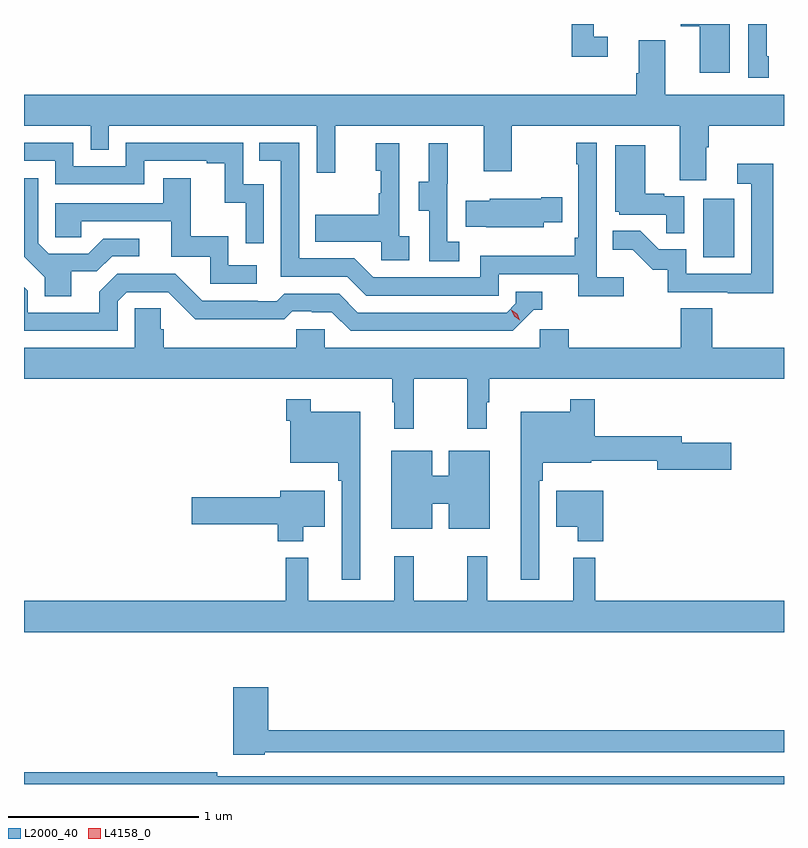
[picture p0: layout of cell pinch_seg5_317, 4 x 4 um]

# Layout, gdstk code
import gdstk
lib = gdstk.Library(unit=1e-6, precision=1e-09)
def R(c, l, rs):  # rectangles x0, y0, x1, y1
    for r in rs: c.add(gdstk.rectangle(r[:2], r[2:], *l))
def P(c, l, *ps):  # polygons
    for p in ps: c.add(gdstk.Polygon(p, *l))
L2000_40 = (2000, 40)
L4158_0 = (4158, 0)

pinch_seg5_317 = lib.new_cell('pinch_seg5_317')
R(pinch_seg5_317, L2000_40, [(938.144,874.716,938.308,875.023)])
P(pinch_seg5_317, L2000_40, [(938.491,875.773),(938.478,875.773),(938.478,875.944),(938.382,875.944),(938.382,875.661),(938.491,875.661)],
  [(937.642,875.877),(937.569,875.877),(937.569,875.944),(937.453,875.944),(937.453,875.772),(937.642,875.772)],
  [(938.284,875.944),(937.92,875.944),(937.92,875.943),(938.027,875.943),(938.027,875.931),(938.126,875.931),(938.126,875.688),(938.284,875.688)],
  [(938.161,875.296),(938.174,875.296),(938.174,875.408),(938.57,875.408),(938.57,875.572),(937.945,875.572),(937.945,875.858),(937.805,875.858),(937.805,875.684),(937.793,875.684),(937.793,875.572),(934.57,875.572),(934.57,875.408),(934.92,875.408),(934.92,875.281),(935.016,875.281),(935.016,875.408),(936.111,875.408),(936.111,875.16),(936.209,875.16),(936.209,875.408),(936.989,875.408),(936.989,875.169),(937.137,875.169),(937.137,875.408),(938.021,875.408),(938.021,875.122),(938.161,875.122)],
  [(937.726,874.612),(937.584,874.612),(937.584,875.32),(937.476,875.32),(937.476,875.207),(937.488,875.207),(937.488,874.819),(937.468,874.819),(937.468,874.723),(936.972,874.723),(936.972,874.611),(936.408,874.611),(936.309,874.71),(936.018,874.71),(936.018,875.319),(935.809,875.319),(935.809,875.223),(935.922,875.223),(935.922,874.614),(936.272,874.614),(936.371,874.515),(937.068,874.515),(937.068,874.626),(937.487,874.626),(937.487,874.51),(937.726,874.51)],
  [(935.832,875.1),(935.724,875.1),(935.724,875.319),(935.106,875.319),(935.106,875.196),(934.83,875.196),(934.83,875.319),(934.57,875.319),(934.57,875.223),(934.734,875.223),(934.734,875.1),(935.202,875.1),(935.202,875.223),(935.531,875.223),(935.531,875.211),(935.627,875.211),(935.627,875.003),(935.736,875.003),(935.736,874.791),(935.832,874.791)],
  [(936.598,874.826),(936.546,874.826),(936.546,875.317),(936.422,875.317),(936.422,875.172),(936.448,875.172),(936.448,875.054),(936.438,875.054),(936.438,874.939),(936.103,874.939),(936.103,874.799),(936.45,874.799),(936.45,874.701),(936.598,874.701)],
  [(936.862,874.799),(936.798,874.799),(936.798,875.103),(936.8,875.103),(936.8,875.317),(936.701,875.317),(936.701,875.115),(936.647,875.115),(936.647,874.96),(936.702,874.96),(936.702,874.696),(936.862,874.696)],
  [(938.046,875.037),(937.94,875.037),(937.94,875.05),(937.84,875.05),(937.84,875.305),(937.682,875.305),(937.682,874.956),(937.704,874.956),(937.704,874.941),(937.951,874.941),(937.951,874.843),(938.046,874.843)],
  [(938.513,875.209),(938.325,875.209),(938.325,875.103),(938.397,875.103),(938.397,874.629),(938.055,874.629),(938.055,874.758),(937.911,874.758),(937.813,874.856),(937.669,874.856),(937.669,874.757),(937.773,874.757),(937.88,874.65),(937.957,874.65),(937.957,874.533),(938.275,874.533),(938.275,874.528),(938.513,874.528)],
  [(934.819,874.642),(934.954,874.642),(935.034,874.722),(935.176,874.722),(935.176,874.815),(934.988,874.815),(934.907,874.734),(934.701,874.734),(934.644,874.791),(934.644,875.131),(934.57,875.131),(934.57,874.719),(934.572,874.719),(934.679,874.612),(934.679,874.51),(934.819,874.51)],
  [(935.794,874.674),(935.646,874.674),(935.646,874.828),(935.447,874.828),(935.447,875.131),(935.303,875.131),(935.303,875.001),(934.734,875.001),(934.734,874.821),(934.871,874.821),(934.871,874.905),(935.345,874.905),(935.345,874.719),(935.55,874.719),(935.55,874.578),(935.794,874.578)],
  [(937.305,874.901),(937.403,874.901),(937.403,875.031),(937.292,875.031),(937.292,875.023),(937.02,875.023),(937.02,875.014),(936.895,875.014),(936.895,874.877),(937.003,874.877),(937.003,874.874),(937.305,874.874)],
  [(935.064,874.485),(935.112,874.533),(935.328,874.533),(935.47,874.391),(935.706,874.391),(935.706,874.389),(935.939,874.389),(935.981,874.431),(936.084,874.431),(936.084,874.428),(936.191,874.428),(936.29,874.329),(937.143,874.329),(937.254,874.44),(937.297,874.44),(937.297,874.536),(937.158,874.536),(937.158,874.473),(937.11,874.425),(936.327,874.425),(936.228,874.524),(935.939,874.524),(935.9,874.485),(935.801,874.485),(935.801,874.488),(935.508,874.488),(935.367,874.629),(935.061,874.629),(934.967,874.535),(934.967,874.425),(934.59,874.425),(934.59,874.539),(934.57,874.559),(934.57,874.329),(935.064,874.329)],
  [(936.62,874.076),(936.904,874.076),(936.904,873.813),(937.006,873.813),(937.006,873.953),(937.018,873.953),(937.018,874.076),(938.57,874.076),(938.57,874.24),(938.192,874.24),(938.192,874.448),(938.027,874.448),(938.027,874.24),(937.436,874.24),(937.436,874.338),(937.284,874.338),(937.284,874.24),(936.153,874.24),(936.153,874.338),(936.003,874.338),(936.003,874.24),(935.306,874.24),(935.306,874.338),(935.291,874.338),(935.291,874.448),(935.154,874.448),(935.154,874.24),(934.57,874.24),(934.57,874.076),(936.507,874.076),(936.507,873.953),(936.518,873.953),(936.518,873.813),(936.62,873.813)],
  [(936.34,873.904),(936.079,873.904),(936.079,873.97),(935.95,873.97),(935.95,873.857),(935.97,873.857),(935.97,873.635),(936.223,873.635),(936.223,873.539),(936.243,873.539),(936.243,873.018),(936.34,873.018)],
  [(937.281,873.539),(937.301,873.539),(937.301,873.635),(937.555,873.635),(937.555,873.646),(937.904,873.646),(937.904,873.599),(938.293,873.599),(938.293,873.741),(938.032,873.741),(938.032,873.775),(937.574,873.775),(937.574,873.97),(937.446,873.97),(937.446,873.904),(937.184,873.904),(937.184,873.018),(937.281,873.018)],
  [(936.718,873.419),(936.806,873.419),(936.806,873.287),(937.021,873.287),(937.021,873.697),(936.806,873.697),(936.806,873.566),(936.718,873.566),(936.718,873.697),(936.503,873.697),(936.503,873.287),(936.718,873.287)],
  [(937.619,873.487),(937.37,873.487),(937.37,873.299),(937.484,873.299),(937.484,873.221),(937.619,873.221)],
  [(936.04,873.299),(936.154,873.299),(936.154,873.487),(935.918,873.487),(935.918,873.452),(935.454,873.452),(935.454,873.31),(935.906,873.31),(935.906,873.221),(936.04,873.221)],
  [(938.57,872.908),(937.577,872.908),(937.577,873.136),(937.46,873.136),(937.46,872.908),(937.007,872.908),(937.007,873.142),(936.904,873.142),(936.904,872.908),(936.62,872.908),(936.62,873.142),(936.518,873.142),(936.518,872.908),(936.065,872.908),(936.065,873.136),(935.947,873.136),(935.947,872.908),(934.57,872.908),(934.57,872.744),(938.57,872.744)],
  [(935.838,872.112),(938.57,872.112),(938.57,872.228),(935.855,872.228),(935.855,872.452),(935.672,872.452),(935.672,872.099),(935.838,872.099)],
  [(938.57,871.986),(935.588,871.986),(935.588,872.006),(934.57,872.006),(934.57,871.944),(938.57,871.944)])
P(pinch_seg5_317, L4158_0, [(937.18,874.386),(937.15,874.406),(937.134,874.439),(937.134,874.44),(937.134,874.44),(937.165,874.419),(937.18,874.386),(937.18,874.386)])

lib.write_gds('pinch_seg5_317.gds')
